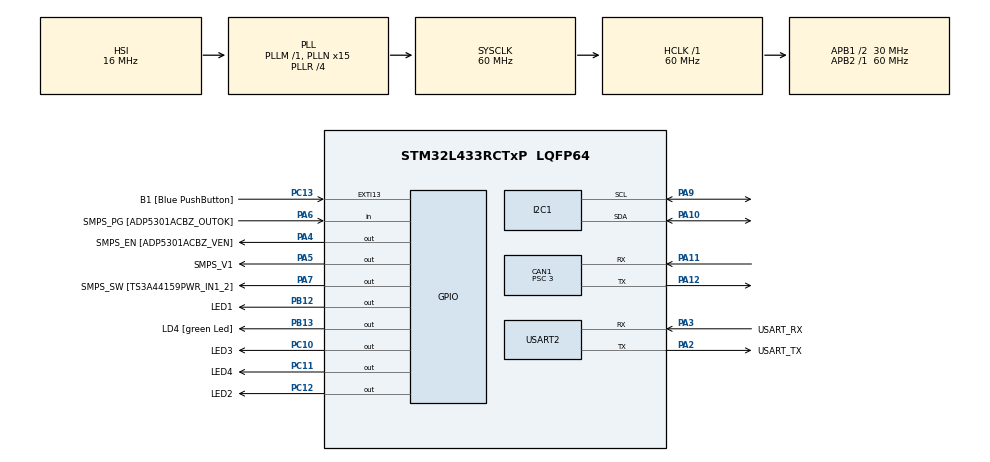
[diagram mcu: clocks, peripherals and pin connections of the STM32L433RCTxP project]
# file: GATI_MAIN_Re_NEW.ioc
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CAN1.BS1=CAN_BS1_7TQ
CAN1.BS2=CAN_BS2_2TQ
CAN1.CalculateBaudRate=1000000
CAN1.CalculateTimeBit=1000
CAN1.CalculateTimeQuantum=100.0
CAN1.Prescaler=3
I2C1.Timing=0x60101017
Mcu.Family=STM32L4
Mcu.Name=STM32L433RCTxP
Mcu.Package=LQFP64
NVIC.CAN1_RX0_IRQn=true\:0\:0\:false\:false\:true\:true\:true\:true
NVIC.CAN1_RX1_IRQn=true\:0\:0\:false\:false\:true\:true\:true\:true
NVIC.I2C1_ER_IRQn=true\:0\:0\:false\:false\:true\:true\:true\:true
NVIC.I2C1_EV_IRQn=true\:0\:0\:false\:false\:true\:true\:true\:true
NVIC.PriorityGroup=NVIC_PRIORITYGROUP_4
NVIC.USART2_IRQn=true\:0\:0\:false\:false\:true\:true\:true\:true
PA10.Mode=I2C
PA10.Signal=I2C1_SDA
PA11.Mode=CAN_Activate
PA11.Signal=CAN1_RX
PA12.Mode=CAN_Activate
PA12.Signal=CAN1_TX
PA13\ (JTMS-SWDIO).GPIO_Label=TMS
PA13\ (JTMS-SWDIO).Mode=Serial_Wire
PA13\ (JTMS-SWDIO).Signal=SYS_JTMS-SWDIO
PA14\ (JTCK-SWCLK).GPIO_Label=TCK
PA14\ (JTCK-SWCLK).Mode=Serial_Wire
PA14\ (JTCK-SWCLK).Signal=SYS_JTCK-SWCLK
PA2.GPIO_Label=USART_TX
PA2.GPIO_Mode=GPIO_MODE_AF_PP
PA2.GPIO_PuPd=GPIO_NOPULL
PA2.GPIO_Speed=GPIO_SPEED_FREQ_VERY_HIGH
PA2.Mode=Asynchronous
PA2.Signal=USART2_TX
PA3.GPIO_Label=USART_RX
PA3.GPIO_Mode=GPIO_MODE_AF_PP
PA3.GPIO_PuPd=GPIO_NOPULL
PA3.GPIO_Speed=GPIO_SPEED_FREQ_VERY_HIGH
PA3.Mode=Asynchronous
PA3.Signal=USART2_RX
PA4.GPIO_Label=SMPS_EN [ADP5301ACBZ_VEN]
PA4.Signal=GPIO_Output
PA5.GPIO_Label=SMPS_V1
PA5.GPIO_ModeDefaultOutputPP=GPIO_MODE_OUTPUT_PP
PA5.GPIO_PuPd=GPIO_NOPULL
PA5.GPIO_Speed=GPIO_SPEED_FREQ_LOW
PA5.Signal=GPIO_Output
PA6.GPIO_Label=SMPS_PG [ADP5301ACBZ_OUTOK]
PA6.GPIO_PuPd=GPIO_PULLUP
PA6.Signal=GPIO_Input
PA7.GPIO_Label=SMPS_SW [TS3A44159PWR_IN1_2]
PA7.Signal=GPIO_Output
PA9.Mode=I2C
PA9.Signal=I2C1_SCL
PB12.GPIO_Label=LED1
PB12.Signal=GPIO_Output
PB13.GPIO_Label=LD4 [green Led]
PB13.Signal=GPIO_Output
PB3\ (JTDO-TRACESWO).GPIO_Label=SWO
PB3\ (JTDO-TRACESWO).Signal=SYS_JTDO-SWO
PC10.GPIO_Label=LED3
PC10.Signal=GPIO_Output
PC11.GPIO_Label=LED4
PC11.Signal=GPIO_Output
PC12.GPIO_Label=LED2
PC12.Signal=GPIO_Output
PC13.GPIO_Label=B1 [Blue PushButton]
PC13.GPIO_ModeDefaultEXTI=GPIO_MODE_IT_FALLING
PC13.GPIO_PuPd=GPIO_NOPULL
PC13.Signal=GPXTI13
PC14-OSC32_IN\ (PC14).Mode=LSE-External-Oscillator
PC14-OSC32_IN\ (PC14).Signal=RCC_OSC32_IN
PC15-OSC32_OUT\ (PC15).Mode=LSE-External-Oscillator
PC15-OSC32_OUT\ (PC15).Signal=RCC_OSC32_OUT
PH0-OSC_IN\ (PH0).GPIO_Label=MCO
PH0-OSC_IN\ (PH0).Mode=HSE-External-Clock-Source
PH0-OSC_IN\ (PH0).Signal=RCC_OSC_IN
PH1-OSC_OUT\ (PH1).Signal=RCC_OSC_OUT
ProjectManager.HeapSize=0x200
ProjectManager.StackSize=0x400
ProjectManager.TargetToolchain=STM32CubeIDE
RCC.ADCFreq_Value=64000000
RCC.AHBFreq_Value=60000000
RCC.APB1CLKDivider=RCC_HCLK_DIV2
RCC.APB1Freq_Value=30000000
RCC.APB1TimFreq_Value=60000000
RCC.APB2Freq_Value=60000000
RCC.APB2TimFreq_Value=60000000
RCC.CortexFreq_Value=60000000
RCC.HCLKFreq_Value=60000000
RCC.HSE_VALUE=8000000
RCC.HSI48_VALUE=48000000
RCC.HSI_VALUE=16000000
RCC.MSI_VALUE=4000000
RCC.PLLN=15
RCC.PLLR=RCC_PLLR_DIV4
RCC.PLLSourceVirtual=RCC_PLLSOURCE_HSI
RCC.PREFETCH_ENABLE=1
RCC.SYSCLKFreq_VALUE=60000000
RCC.SYSCLKSource=RCC_SYSCLKSOURCE_PLLCLK
RCC.USBFreq_Value=64000000
RCC.VCOOutputFreq_Value=240000000
USART2.VirtualMode-Asynchronous=VM_ASYNC
board=NUCLEO-L433RC-P

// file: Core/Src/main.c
/* USER CODE BEGIN Header */
/**
 ******************************************************************************
 * @file           : main.c
 * @brief          : Main program body
 ******************************************************************************
 * @attention
 *
 * Copyright (c) 2024 STMicroelectronics.
 * All rights reserved.
 *
 * This software is licensed under terms that can be found in the LICENSE file
 * in the root directory of this software component.
 * If no LICENSE file comes with this software, it is provided AS-IS.
 *
 ******************************************************************************
 */
//
//                       _oo0oo_
//                      o8888888o
//                      88" . "88
//                      (| -_- |)
//                      0\  =  /0
//                    ___/`---'\___
//                  .' \\|     |// '.
//                 / \\|||  :  |||// \
//                / _||||| -:- |||||- \
//               |   | \\\  -  /// |   |
//               | \_|  ''\---/''  |_/ |
//               \  .-\__  '-'  ___/-. /
//             ___'. .'  /--.--\  `. .'___
//          ."" '<  `.___\_<|>_/___.' >' "".
//         | | :  `- \`.;`\ _ /`;.`/ - ` : | |
//         \  \ `_.   \_ __\ /__ _/   .-` /  /
//     =====`-.____`.___ \_____/___.-`___.-'=====
//                       `=---='
//
//
//     ~~~~~~~~~~~~~~~~~~~~~~~~~~~~~~~~~~~~~~~~~~~
//
//               佛祖保佑         永无BUG
//
/* USER CODE END Header */
#include "main.h"

/* USER CODE BEGIN Includes */
#include "math.h"
#include "stdlib.h"
#include "stdbool.h"
#include "syouki.h"
#include "mpu6050.h"
/* USER CODE END Includes */

CAN_HandleTypeDef hcan1;

I2C_HandleTypeDef hi2c1;

UART_HandleTypeDef huart2;

/* USER CODE BEGIN PV */

//MPU6050使うのに必要
//MPU6050_t MPU6050;
/* USER CODE END PV */

void SystemClock_Config(void);
static void MX_GPIO_Init(void);
static void MX_USART2_UART_Init(void);
static void MX_CAN1_Init(void);
static void MX_I2C1_Init(void);

/* USER CODE BEGIN 0 */
//can_ID
#define AB_ID 0x003
#define CD_ID 0x004

//発射機構前
#define FFIRING_ID 0x005

//発射機構後ろ
//#define BFIRING_ID 0x006

//グライダー
#define GFIRING_ID 0x004

//receive_ID
uint32_t fId1 = 0x000 << 5; // フィルターID1
uint32_t fId2 = 0x100 << 5; // フィルターID2
uint32_t fId3 = 0x200 << 5; // フィルターID3
uint32_t fId4 = 0x000 << 5; // フィルターID4

//スティックのデッドゾーン
#define HAJIKU 50
#define MAX 250
#define MIN -250

//足回りの正面変更
float root = 0.7071;

//半自動化
//int path = 0;

//can_RX
uint32_t id;
uint32_t dlc;
uint32_t stm_id;

//発射機構のモーターの出力
int s_power = 0;
int direction = 0;

//足回りモーターの方向指定
int state = 0;
int fl_state, fr_state, bl_state, br_state;

//足回りのモーターの出力
int turning;
int fl_power, fr_power, bl_power, br_power;

//角度変更後の足回りのモーターの出力
int vx, vy;
int new_vx, new_vy;

//前のサーボの角度指定
int Fservo_angle = 0;

//後ろのサーボの角度指定
//int Bservo_angle = 0;

//後ろのサーボの角度指定
int Gservo_angle = 0;

//PS4からのデータ受け取り用配列
uint8_t DualShock_data[3][8] = { 0 };

//発射用ばねハブからのデータ送受信用
uint8_t FilingMechanism_data[3][8] = { 0 };

//電源基盤受信用
uint8_t Electrical_data[8] = { 0 };

//map関数
long map(long x, long in_min, long in_max, long out_min, long out_max) {
	return (x - in_min) * (out_max - out_min) / (in_max - in_min) + out_min;
}

//printf用関数
int _write(int file, char *ptr, int len) {
	HAL_UART_Transmit(&huart2, (uint8_t*) ptr, len, 10);
	return len;
}
/* USER CODE END 0 */

int main(void) {

	/* USER CODE BEGIN 1 */
	setbuf(stdout, NULL);
	/* USER CODE END 1 */

	/* MCU Configuration--------------------------------------------------------*/

	/* Reset of all peripherals, Initializes the Flash interface and the Systick. */
	HAL_Init();

	/* Configure the system clock */
	SystemClock_Config();

	/* Initialize all configured peripherals */
	MX_GPIO_Init();
	MX_USART2_UART_Init();
	MX_CAN1_Init();
	MX_I2C1_Init();
	/* USER CODE BEGIN 2 */

	// CANスタート
	HAL_CAN_Start(&hcan1);
	// 割り込み有効
	HAL_CAN_ActivateNotification(&hcan1, CAN_IT_RX_FIFO0_MSG_PENDING);

	//MPU6050キャリブレーション
//	while (MPU6050_Init(&hi2c1) == 1)
//		;
//	MPU6050_Calibration(&hi2c1, &MPU6050, 3000);

	/* USER CODE END 2 */

	/* Infinite loop */
	while (1) {

		/* USER CODE BEGIN 3 */
//		MPU6050の値の読み取り
//		MPU6050_Read_All(&hi2c1, &MPU6050);
//		printf("offset:%.5f  ", MPU6050.offset_z);
//		printf("%.5f\r\n", MPU6050.angleZ);
//		あとはMPU6050からとった角度を入れる
//      動作確認用LED
		HAL_GPIO_WritePin(LED1_GPIO_Port, LED1_Pin, RESET);
		HAL_GPIO_WritePin(LED2_GPIO_Port, LED2_Pin, RESET);
		HAL_GPIO_WritePin(LED3_GPIO_Port, LED3_Pin, RESET);
		HAL_GPIO_WritePin(LED4_GPIO_Port, LED4_Pin, RESET);

//		旋回:Y:X方向の出力の計算
//		Lスティック
		turning = DualShock_data[2][5] - DualShock_data[2][6];
		vy = DualShock_data[0][1] - DualShock_data[0][2];
		vx = DualShock_data[0][3] - DualShock_data[0][4];

//		Y:X方向の値の最低:最大値変更
		vy = map(vy, -128, 128, -255, 255);
		vx = map(vx, -128, 128, -255, 255);

//		正面の向きを45度変更
		new_vx = root * (vx + vy);
		new_vy = root * (-vx + vy);

//		それぞれのオムニの出力の計算
//		fl_power = -new_vx - new_vy - turning;
//		fr_power = new_vx - new_vy + turning;
//		bl_power = -new_vx + new_vy + turning;
//		br_power = new_vx + new_vy - turning;

//		十字キー右
		if (DualShock_data[1][3]) {
			fl_power = 0;
			fr_power = 250;
			bl_power = -250;
			br_power = 0;
		}
//		十字キー左
		else if (DualShock_data[1][5]) {
			fl_power = 0;
			fr_power = -250;
			bl_power = 250;
			br_power = 0;
		}
//		普段
		else {
			fl_power = -new_vx - new_vy; //- turning;
			fr_power = new_vx - new_vy; //+ turning;
			bl_power = -new_vx + new_vy; //+ turning;
			br_power = new_vx + new_vy; //- turning;
		}

//		L2R2の値を弾く
		turning = tflip(turning);

//		スティックの値を弾く
		fl_power = flip(fl_power) - turning;
		fr_power = flip(fr_power) + turning;
		bl_power = flip(bl_power) + turning;
		br_power = flip(br_power) - turning;

//		値からモーターの方向指定
		fl_state = all_state(fl_power);
		fr_state = all_state(fr_power);
		bl_state = all_state(bl_power);
		br_state = all_state(br_power);

//		サーボモーターの角度指定
//		〇ボタン
		if (DualShock_data[1][6]) {
			Fservo_angle = 0;
		} else {
			Fservo_angle = 20;
		}

//		サーボモーターの角度指定
//		□ボタン
//		if (DualShock_data[2][2]) {
//			Bservo_angle = 0;
//		} else {
//			Bservo_angle = 20;
//		}

//		サーボモーターの角度指定
//		△ボタン
		if (DualShock_data[2][1]) {
			Gservo_angle = 10;
		} else {
			Gservo_angle = 0;
		}

//      発射機構正面手動ver(リミットスイッチによる制限付き)
//		十字キー上ボタン
		if (DualShock_data[1][2]) {
//			printf("%d \r\n",FilingMechanism_data[0][1]);
			if (FilingMechanism_data[0][1]) {
				s_power = 0;
				direction = 1;
			} else {
				s_power = 175;
				direction = 1;
			}
		}
//		十字キー下ボタン
		else if (DualShock_data[1][4]) {
//			printf("%d \r\n",FilingMechanism_data[0][2]);
//			後ろのリミットスイッチ
			if (FilingMechanism_data[0][2]) {
				s_power = 0;
				direction = 0;
			} else {
				s_power = 175;
				direction = 0;
			}
		}
//		想定していない状態なら止める
		else {
			s_power = 0;
			direction = 0;
		}
//		電源基盤の電圧が低かったらCAN_TXで送る値をすべて0に
		if (Electrical_data[0] || Electrical_data[1]) {
			fl_power = 0;
			fr_power = 0;
			bl_power = 0;
			fr_power = 0;
			s_power = 0;
			Fservo_angle = 20;
//			Bservo_angle = 20;
//			Gservo_angle = 0;
		}

//      足回り前
		CAN_TX(AB_ID, abs(fl_power), fl_state, abs(fr_power), fr_state, 0);
//      足回り後ろ
		CAN_TX(CD_ID, abs(bl_power), bl_state, abs(br_power), br_state, Gservo_angle);
//		発射機構前
		CAN_TX(FFIRING_ID, s_power, direction, 0, 0, Fservo_angle);
//		発射機構後ろ
//		CAN_TX(BFIRING_ID, 0, 0, s_power, direction, Bservo_angle);
//		グライダー
//		CAN_TX(GFIRING_ID, 0, 0, 0, 0, Gservo_angle);

		HAL_Delay(5);
	}

//発射機構自動化ver
//		printf("limit1..%d  ", FilingMechanism_data[0][1]);
//		printf("limit2..%d\r\n", FilingMechanism_data[0][2]);
//		printf("path..%d\r\n", path);
//		if (path == 0) {
//			s_power = 50;
//			direction = 0;
//			if (FilingMechanism_data[0][2]) {
//				path = 1;
//			}
//		} else if (path == 1) {
//			s_power = 0;
//			direction = 0;
//			if (DualShock_data[1][6]) {
//				path = 2;
//			}
//		} else if (path == 2) {
//			s_power = 50;
//			direction = 1;
//			if (FilingMechanism_data[0][1]) {
//				path = 3;
//			}
//		} else if (path == 3) {
//			s_power = 0;
//			direction = 0;
//			if (DualShock_data[2][2]) {
//				path = 0;
//			}
//		} else {
//			s_power = 0;
//			direction = 0;
//		}
	/* USER CODE END 3 */
}

void SystemClock_Config(void) {
	RCC_OscInitTypeDef RCC_OscInitStruct = { 0 };
	RCC_ClkInitTypeDef RCC_ClkInitStruct = { 0 };

	/** Configure the main internal regulator output voltage
	 */
	if (HAL_PWREx_ControlVoltageScaling(PWR_REGULATOR_VOLTAGE_SCALE1)
			!= HAL_OK) {
		Error_Handler();
	}

	/** Initializes the RCC Oscillators according to the specified parameters
	 * in the RCC_OscInitTypeDef structure.
	 */
	RCC_OscInitStruct.OscillatorType = RCC_OSCILLATORTYPE_HSI;
	RCC_OscInitStruct.HSIState = RCC_HSI_ON;
	RCC_OscInitStruct.HSICalibrationValue = RCC_HSICALIBRATION_DEFAULT;
	RCC_OscInitStruct.PLL.PLLState = RCC_PLL_ON;
	RCC_OscInitStruct.PLL.PLLSource = RCC_PLLSOURCE_HSI;
	RCC_OscInitStruct.PLL.PLLM = 1;
	RCC_OscInitStruct.PLL.PLLN = 15;
	RCC_OscInitStruct.PLL.PLLP = RCC_PLLP_DIV7;
	RCC_OscInitStruct.PLL.PLLQ = RCC_PLLQ_DIV2;
	RCC_OscInitStruct.PLL.PLLR = RCC_PLLR_DIV4;
	if (HAL_RCC_OscConfig(&RCC_OscInitStruct) != HAL_OK) {
		Error_Handler();
	}

	/** Initializes the CPU, AHB and APB buses clocks
	 */
	RCC_ClkInitStruct.ClockType = RCC_CLOCKTYPE_HCLK | RCC_CLOCKTYPE_SYSCLK
			| RCC_CLOCKTYPE_PCLK1 | RCC_CLOCKTYPE_PCLK2;
	RCC_ClkInitStruct.SYSCLKSource = RCC_SYSCLKSOURCE_PLLCLK;
	RCC_ClkInitStruct.AHBCLKDivider = RCC_SYSCLK_DIV1;
	RCC_ClkInitStruct.APB1CLKDivider = RCC_HCLK_DIV2;
	RCC_ClkInitStruct.APB2CLKDivider = RCC_HCLK_DIV1;

	if (HAL_RCC_ClockConfig(&RCC_ClkInitStruct, FLASH_LATENCY_3) != HAL_OK) {
		Error_Handler();
	}
}

static void MX_CAN1_Init(void) {

	hcan1.Instance = CAN1;
	hcan1.Init.Prescaler = 3;
	hcan1.Init.Mode = CAN_MODE_NORMAL;
	hcan1.Init.SyncJumpWidth = CAN_SJW_1TQ;
	hcan1.Init.TimeSeg1 = CAN_BS1_7TQ;
	hcan1.Init.TimeSeg2 = CAN_BS2_2TQ;
	hcan1.Init.TimeTriggeredMode = DISABLE;
	hcan1.Init.AutoBusOff = DISABLE;
	hcan1.Init.AutoWakeUp = DISABLE;
	hcan1.Init.AutoRetransmission = DISABLE;
	hcan1.Init.ReceiveFifoLocked = DISABLE;
	hcan1.Init.TransmitFifoPriority = DISABLE;
	if (HAL_CAN_Init(&hcan1) != HAL_OK) {
		Error_Handler();
	}
	/* USER CODE BEGIN CAN1_Init 2 */
	CAN_FilterTypeDef filter;
	filter.FilterIdHigh = fId1;                  // フィルターID1
	filter.FilterIdLow = fId2;                  // フィルターID2
	filter.FilterMaskIdHigh = fId3;                  // フィルターID3
	filter.FilterMaskIdLow = fId4;                  // フィルターID4
	filter.FilterScale = CAN_FILTERSCALE_16BIT; // 16モード
	filter.FilterFIFOAssignment = CAN_FILTER_FIFO0;      // FIFO0へ格納
	filter.FilterBank = 0;
	filter.FilterMode = CAN_FILTERMODE_IDLIST; // IDリストモード
	filter.SlaveStartFilterBank = 14;
	filter.FilterActivation = ENABLE;
	HAL_CAN_ConfigFilter(&hcan1, &filter);
	/* USER CODE END CAN1_Init 2 */

}

static void MX_I2C1_Init(void) {

	hi2c1.Instance = I2C1;
	hi2c1.Init.Timing = 0x60101017;
	hi2c1.Init.OwnAddress1 = 0;
	hi2c1.Init.AddressingMode = I2C_ADDRESSINGMODE_7BIT;
	hi2c1.Init.DualAddressMode = I2C_DUALADDRESS_DISABLE;
	hi2c1.Init.OwnAddress2 = 0;
	hi2c1.Init.OwnAddress2Masks = I2C_OA2_NOMASK;
	hi2c1.Init.GeneralCallMode = I2C_GENERALCALL_DISABLE;
	hi2c1.Init.NoStretchMode = I2C_NOSTRETCH_DISABLE;
	if (HAL_I2C_Init(&hi2c1) != HAL_OK) {
		Error_Handler();
	}

	/** Configure Analogue filter
	 */
	if (HAL_I2CEx_ConfigAnalogFilter(&hi2c1, I2C_ANALOGFILTER_ENABLE)
			!= HAL_OK) {
		Error_Handler();
	}

	/** Configure Digital filter
	 */
	if (HAL_I2CEx_ConfigDigitalFilter(&hi2c1, 0) != HAL_OK) {
		Error_Handler();
	}

}

static void MX_USART2_UART_Init(void) {

	huart2.Instance = USART2;
	huart2.Init.BaudRate = 115200;
	huart2.Init.WordLength = UART_WORDLENGTH_8B;
	huart2.Init.StopBits = UART_STOPBITS_1;
	huart2.Init.Parity = UART_PARITY_NONE;
	huart2.Init.Mode = UART_MODE_TX_RX;
	huart2.Init.HwFlowCtl = UART_HWCONTROL_NONE;
	huart2.Init.OverSampling = UART_OVERSAMPLING_16;
	huart2.Init.OneBitSampling = UART_ONE_BIT_SAMPLE_DISABLE;
	huart2.AdvancedInit.AdvFeatureInit = UART_ADVFEATURE_NO_INIT;
	if (HAL_UART_Init(&huart2) != HAL_OK) {
		Error_Handler();
	}

}

static void MX_GPIO_Init(void) {
	GPIO_InitTypeDef GPIO_InitStruct = { 0 };

	/* GPIO Ports Clock Enable */
	__HAL_RCC_GPIOC_CLK_ENABLE();
	__HAL_RCC_GPIOH_CLK_ENABLE();
	__HAL_RCC_GPIOA_CLK_ENABLE();
	__HAL_RCC_GPIOB_CLK_ENABLE();

	/*Configure GPIO pin Output Level */
	HAL_GPIO_WritePin(GPIOA, SMPS_EN_Pin | SMPS_V1_Pin | SMPS_SW_Pin,
			GPIO_PIN_RESET);

	/*Configure GPIO pin Output Level */
	HAL_GPIO_WritePin(GPIOB, LED1_Pin | LD4_Pin, GPIO_PIN_RESET);

	/*Configure GPIO pin Output Level */
	HAL_GPIO_WritePin(GPIOC, LED3_Pin | LED4_Pin | LED2_Pin, GPIO_PIN_RESET);

	/*Configure GPIO pin : B1_Pin */
	GPIO_InitStruct.Pin = B1_Pin;
	GPIO_InitStruct.Mode = GPIO_MODE_IT_FALLING;
	GPIO_InitStruct.Pull = GPIO_NOPULL;
	HAL_GPIO_Init(B1_GPIO_Port, &GPIO_InitStruct);

	/*Configure GPIO pins : SMPS_EN_Pin SMPS_V1_Pin SMPS_SW_Pin */
	GPIO_InitStruct.Pin = SMPS_EN_Pin | SMPS_V1_Pin | SMPS_SW_Pin;
	GPIO_InitStruct.Mode = GPIO_MODE_OUTPUT_PP;
	GPIO_InitStruct.Pull = GPIO_NOPULL;
	GPIO_InitStruct.Speed = GPIO_SPEED_FREQ_LOW;
	HAL_GPIO_Init(GPIOA, &GPIO_InitStruct);

	/*Configure GPIO pin : SMPS_PG_Pin */
	GPIO_InitStruct.Pin = SMPS_PG_Pin;
	GPIO_InitStruct.Mode = GPIO_MODE_INPUT;
	GPIO_InitStruct.Pull = GPIO_PULLUP;
	HAL_GPIO_Init(SMPS_PG_GPIO_Port, &GPIO_InitStruct);

	/*Configure GPIO pins : LED1_Pin LD4_Pin */
	GPIO_InitStruct.Pin = LED1_Pin | LD4_Pin;
	GPIO_InitStruct.Mode = GPIO_MODE_OUTPUT_PP;
	GPIO_InitStruct.Pull = GPIO_NOPULL;
	GPIO_InitStruct.Speed = GPIO_SPEED_FREQ_LOW;
	HAL_GPIO_Init(GPIOB, &GPIO_InitStruct);

	/*Configure GPIO pins : LED3_Pin LED4_Pin LED2_Pin */
	GPIO_InitStruct.Pin = LED3_Pin | LED4_Pin | LED2_Pin;
	GPIO_InitStruct.Mode = GPIO_MODE_OUTPUT_PP;
	GPIO_InitStruct.Pull = GPIO_NOPULL;
	GPIO_InitStruct.Speed = GPIO_SPEED_FREQ_LOW;
	HAL_GPIO_Init(GPIOC, &GPIO_InitStruct);

}

/* USER CODE BEGIN 4 */
//値弾く関数
int flip(int flip_num) {
	if (flip_num <= HAJIKU && -HAJIKU <= flip_num) {
		flip_num = 0;
	} else if (flip_num <= MIN) {
		flip_num = MIN;
	} else if (flip_num >= MAX) {
		flip_num = MAX;
	}
	return flip_num;
}

//L2R2の弾く値の設定
int tflip(int tflip_num) {
	if (tflip_num <= 10 && -10 <= tflip_num) {
		tflip_num = 0;
	} else if (tflip_num <= MIN) {
		tflip_num = MIN;
	} else if (tflip_num >= MAX) {
		tflip_num = MAX;
	}
	return tflip_num;
}

//モーターの方向指定関数
int all_state(int num) {
	if (num >= 0) {
		state = 0;
	} else {
		state = 1;
	}
	return state;
}

//can_RX
void HAL_CAN_RxFifo0MsgPendingCallback(CAN_HandleTypeDef *hcan1) {
	CAN_RxHeaderTypeDef RxHeader;
	uint8_t RxData[8];
	HAL_GPIO_WritePin(LED1_GPIO_Port, LED1_Pin, SET);
	int i = 0;
	if (HAL_CAN_GetRxMessage(hcan1, CAN_RX_FIFO0, &RxHeader, RxData)
			== HAL_OK) {
		id = RxHeader.StdId; // ID
//		PS4コントローラーの値の取得
		if (id == 0x000) {
			HAL_GPIO_WritePin(LED2_GPIO_Port, LED2_Pin, SET);
			if (RxData[0] == 1) {
				for (i = 0; i <= 7; i++) {
					DualShock_data[0][i] = RxData[i];
				}
			} else if (RxData[0] == 2) {
				for (i = 0; i <= 7; i++) {
					DualShock_data[1][i] = RxData[i];
				}
			} else if (RxData[0] == 3) {
				for (i = 0; i <= 7; i++) {
					DualShock_data[2][i] = RxData[i];
				}
			}
		}
//		ばねハブの値の取得
//		IDはDIPスイッチで決定
		if (id == 0x100) {
			HAL_GPIO_WritePin(LED3_GPIO_Port, LED3_Pin, SET);
			if (RxData[0] == 5) {
				for (i = 0; i <= 7; i++) {
					FilingMechanism_data[0][i] = RxData[i];
				}
			}
			if (RxData[0] == 6) {
				for (i = 0; i <= 7; i++) {
					FilingMechanism_data[1][i] = RxData[i];
				}
			}
			if (RxData[0] == 7) {
				for (i = 0; i <= 7; i++) {
					FilingMechanism_data[2][i] = RxData[i];
				}
			}
		}
//		電源基盤の値の取得
		if (id == 0x200) {
			for (i = 0; i <= 7; i++) {
				Electrical_data[i] = RxData[i];
			}
		}
	}
}

//can_TX
void CAN_TX(uint8_t stm_id, int m1, int direction1, int m2, int direction2, int servo_angle) {
	HAL_GPIO_WritePin(LED4_GPIO_Port, LED4_Pin, SET);
	CAN_TxHeaderTypeDef TxHeader;
	uint32_t TxMailbox;
	uint8_t TxData[8];
	if (0 < HAL_CAN_GetTxMailboxesFreeLevel(&hcan1)) {
		TxHeader.StdId = stm_id;                 // CAN ID
		TxHeader.RTR = CAN_RTR_DATA;
		TxHeader.IDE = CAN_ID_STD;
		TxHeader.DLC = 8;
		TxHeader.TransmitGlobalTime = DISABLE;  // ???
		TxData[0] = m1;
		TxData[1] = direction1;
		TxData[2] = m2;
		TxData[3] = direction2;
		TxData[4] = servo_angle;
		TxData[5] = servo_angle;
		TxData[6] = 0;
		TxData[7] = 0;
		if (HAL_CAN_AddTxMessage(&hcan1, &TxHeader, TxData, &TxMailbox)
				!= HAL_OK) {
			Error_Handler();
		}
	}
}
/* USER CODE END 4 */

void Error_Handler(void) {
	__disable_irq();
	while (1) {
	}
}
